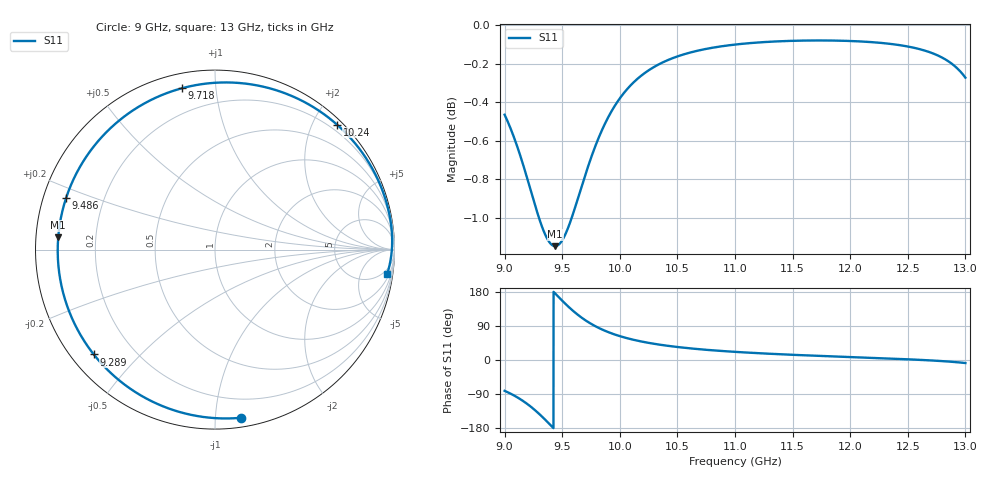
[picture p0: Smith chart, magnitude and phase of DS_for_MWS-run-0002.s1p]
! TOUCHSTONE file generated by CST DESIGN STUDIO
! Date and time: Tue Feb  4 18:10:12 2025
! Project name: C:\Work\MatlabApps\UnitCellOptimizationMatlab\CST\unitcell.cst
! Tree item: Tasks\Sweep1\SPara1\S-Parameters
! Header version: 2024
! Port assignment regex: !\s*Touchstone port\s*([0-9]+)\s*=\s*(CST MWS port|CST DES external port|CST DES block port)\s*(.+)\s* \(\"(.*)\"\)(\s*mode\s*([0-9]+))?.*
! Touchstone port assignment:
! Touchstone port 1 = CST DES external port 1 ("")
# GHz S MA R 50
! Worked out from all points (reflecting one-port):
!   4001 points, 9 GHz to 13 GHz, reference 50 ohm
!   lowest |S11| = -1.1 dB at 9.439 GHz (marker M1), VSWR 15.15, Z = 3.31 + j1.97 ohm
!   phase of S11 starts at -81 deg and turns -287 deg over the sweep
!   S11 on the Smith chart (normalised r, x): 9 GHz: 0.06, -1.16; 9.289 GHz: 0.06, -0.37; 9.486 GHz: 0.07, +0.17; 9.718 GHz: 0.07, +0.81; 10.24 GHz: 0.09, +2.37; 13 GHz: 3, -14
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9  0.9479 -81.4
9.088  0.934 -94.6
9.16  0.9201 -108.1
9.226  0.9061 -122.9
9.289  0.893 -139.2
9.368  0.8803 -162.3
9.404  0.8772 -173.5
9.439  0.8762 175.5
9.486  0.878 160.8
9.5  0.8793 156.5
9.555  0.8865 140.3
9.607  0.8958 126.4
9.661  0.9065 113.4
9.718  0.9178 101.5
9.781  0.9292 90.3
9.856  0.9408 79.1
9.926  0.9497 70.5
10  0.9573 63.0
10.112  0.966 53.8
10.241  0.9731 45.7
10.5  0.9816 34.3
10.723  0.9857 27.6
11  0.9886 21.5
11.5  0.9908 13.7
12  0.9907 7.8
12.5  0.9875 1.9
12.783  0.9814 -2.6
13  0.9692 -8.0
